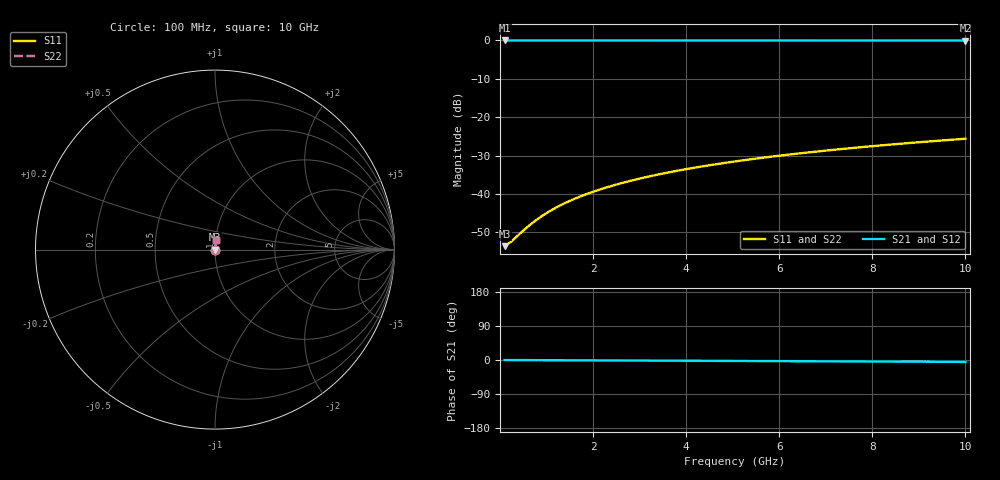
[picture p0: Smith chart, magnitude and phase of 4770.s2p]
# Hz S RI R 50.00
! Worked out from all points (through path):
!   100 points, 100 MHz to 10 GHz, reference 50 ohm
!   highest |S21| = -0.02 dB at 100 MHz (marker M1); lowest = 0.0 dB at 10 GHz (marker M2)
!   lowest |S11| = -53.6 dB at 100 MHz (marker M3), VSWR 1.00, Z = 50.2 + j0.0524 ohm
!   |S11| at or under -10 dB: start of sweep to end of sweep
!   |S22| runs from -53.6 to -25.6 dB; largest |S21 - S12| = 0
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1e8  0.00202 0.000521  0.998 -0.000876  0.998 -0.000876  0.00202 0.000521
2e8  0.00204 0.00104  0.998 -0.00175  0.998 -0.00175  0.00204 0.00104
3e8  0.00205 0.00156  0.9979 -0.00263  0.9979 -0.00263  0.00205 0.00156
5e8  0.00207 0.00261  0.9979 -0.00438  0.9979 -0.00438  0.00207 0.00261
7e8  0.00209 0.00365  0.9979 -0.00613  0.9979 -0.00613  0.00209 0.00365
9e8  0.00212 0.00469  0.9979 -0.00788  0.9979 -0.00788  0.00212 0.00469
1.1e9  0.00214 0.00573  0.9978 -0.00963  0.9978 -0.00963  0.00214 0.00573
1.3e9  0.00217 0.00678  0.9978 -0.0114  0.9978 -0.0114  0.00217 0.00678
1.5e9  0.0022 0.00782  0.9978 -0.0131  0.9978 -0.0131  0.0022 0.00782
1.8e9  0.00226 0.00938  0.9977 -0.0158  0.9977 -0.0158  0.00226 0.00938
2.1e9  0.00232 0.0109  0.9976 -0.0184  0.9976 -0.0184  0.00232 0.0109
2.5e9  0.00241 0.013  0.9975 -0.0219  0.9975 -0.0219  0.00241 0.013
2.9e9  0.00252 0.0151  0.9974 -0.0254  0.9974 -0.0254  0.00252 0.0151
3.4e9  0.00268 0.0177  0.9972 -0.0298  0.9972 -0.0298  0.00268 0.0177
3.8e9  0.00282 0.0198  0.9971 -0.0333  0.9971 -0.0333  0.00282 0.0198
4.2e9  0.00297 0.0219  0.9969 -0.0368  0.9969 -0.0368  0.00297 0.0219
5.1e9  0.00337 0.0266  0.9964 -0.0447  0.9964 -0.0447  0.00337 0.0266
5.9e9  0.00379 0.0307  0.996 -0.0517  0.996 -0.0517  0.00379 0.0307
6.7e9  0.00426 0.0349  0.9954 -0.0587  0.9954 -0.0587  0.00426 0.0349
7.5e9  0.00479 0.039  0.9948 -0.0657  0.9948 -0.0657  0.00479 0.039
8.4e9  0.00546 0.0437  0.9941 -0.0735  0.9941 -0.0735  0.00546 0.0437
1e10  0.00684 0.0519  0.9925 -0.0875  0.9925 -0.0875  0.00684 0.0519
